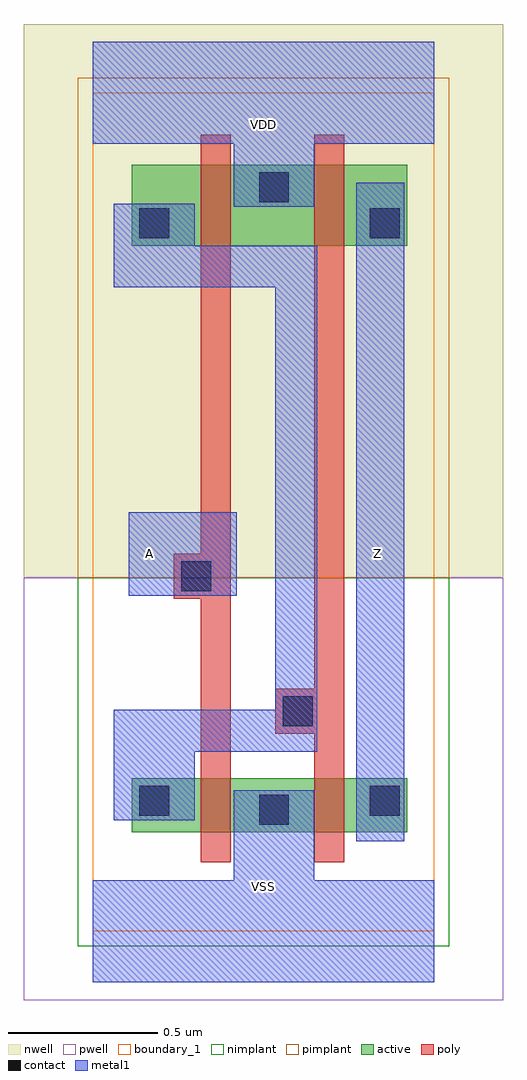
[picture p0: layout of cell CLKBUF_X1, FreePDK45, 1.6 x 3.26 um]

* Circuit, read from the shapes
.subckt CLKBUF_X1 A VDD VSS Z
M1 VSS A n1 VSUBS nfet w=0.18u l=0.1u
M2 Z n1 VSS VSUBS nfet w=0.18u l=0.1u
M3 VDD A n1 n2 pfet w=0.27u l=0.1u
M4 Z n1 VDD n2 pfet w=0.27u l=0.1u
.ends

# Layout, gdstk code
import gdstk
lib = gdstk.Library(unit=1e-6, precision=1e-09)
def R(c, l, rs):  # rectangles x0, y0, x1, y1
    for r in rs: c.add(gdstk.rectangle(r[:2], r[2:], *l))
def P(c, l, *ps):  # polygons
    for p in ps: c.add(gdstk.Polygon(p, *l))
active = (1, 0)
pwell = (2, 0)
nwell = (3, 0)
nimplant = (4, 0)
pimplant = (5, 0)
poly = (9, 0)
contact = (10, 0)
metal1 = (11, 0)
boundary_1 = (235, 1)

clkbuf_x1 = lib.new_cell('CLKBUF_X1')
R(clkbuf_x1, active, [(0.13,0.33,1.05,0.51), (0.13,2.29,1.05,2.56)])
R(clkbuf_x1, pwell, [(-0.23,-0.23,1.37,1.18)])
R(clkbuf_x1, nwell, [(-0.23,1.18,1.37,3.03)])
R(clkbuf_x1, nimplant, [(-0.05,-0.05,1.19,1.18)])
R(clkbuf_x1, pimplant, [(-0.05,1.18,1.19,2.85)])
P(clkbuf_x1, poly, [(0.61,0.66),(0.74,0.66),(0.74,0.23),(0.84,0.23),(0.84,2.66),(0.74,2.66),(0.74,0.81),(0.61,0.81)],
  [(0.27,1.11),(0.36,1.11),(0.36,0.23),(0.46,0.23),(0.46,2.66),(0.36,2.66),(0.36,1.26),(0.27,1.26)])
R(clkbuf_x1, contact, [(0.555,0.355,0.655,0.455), (0.155,0.385,0.255,0.485), (0.925,0.385,1.025,0.485), (0.635,0.685,0.735,0.785), (0.295,1.135,0.395,1.235), (0.155,2.315,0.255,2.415), (0.925,2.315,1.025,2.415), (0.555,2.435,0.655,2.535)])
R(clkbuf_x1, metal1, [(0.88,0.3,1.04,2.5), (0.88,0.3,1.04,2.5), (0.12,1.12,0.48,1.4), (0.12,1.12,0.48,1.4)])
P(clkbuf_x1, metal1, [(0,-0.17),(1.14,-0.17),(1.14,0.17),(0.74,0.17),(0.74,0.47),(0.47,0.47),(0.47,0.17),(0,0.17)],
  [(0,2.63),(0.47,2.63),(0.47,2.42),(0.74,2.42),(0.74,2.63),(1.14,2.63),(1.14,2.97),(0,2.97)],
  [(0,2.63),(0.47,2.63),(0.47,2.42),(0.74,2.42),(0.74,2.63),(1.14,2.63),(1.14,2.97),(0,2.97)],
  [(0,-0.17),(1.14,-0.17),(1.14,0.17),(0.74,0.17),(0.74,0.47),(0.47,0.47),(0.47,0.17),(0,0.17)],
  [(0.07,2.15),(0.61,2.15),(0.61,0.74),(0.07,0.74),(0.07,0.37),(0.34,0.37),(0.34,0.6),(0.75,0.6),(0.75,2.29),(0.34,2.29),(0.34,2.43),(0.07,2.43)])
R(clkbuf_x1, boundary_1, [(0,0,1.14,2.8)])
clkbuf_x1.add(gdstk.Label('Z', (0.95,1.26), layer=11, texttype=0))
clkbuf_x1.add(gdstk.Label('VSS', (0.57,0.15), layer=11, texttype=0))
clkbuf_x1.add(gdstk.Label('VDD', (0.57,2.695), layer=11, texttype=0))
clkbuf_x1.add(gdstk.Label('A', (0.19,1.26), layer=11, texttype=0))

lib.write_gds('CLKBUF_X1.gds')
